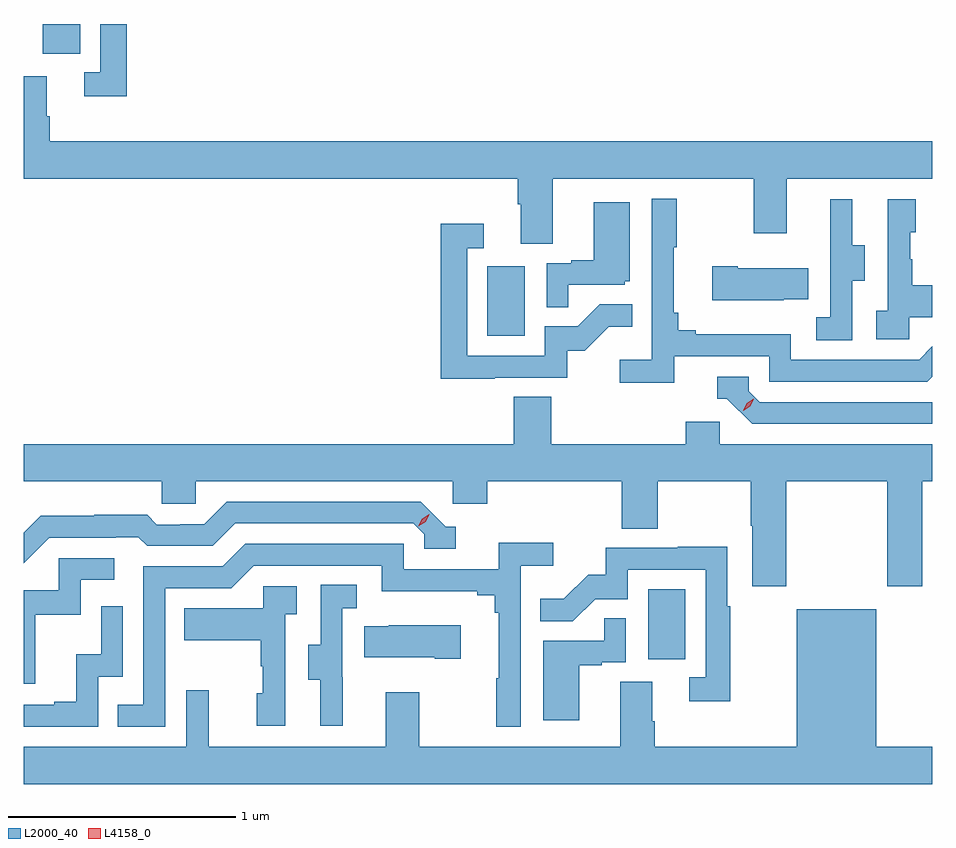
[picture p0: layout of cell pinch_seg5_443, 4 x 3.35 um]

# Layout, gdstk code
import gdstk
lib = gdstk.Library(unit=1e-6, precision=1e-09)
def R(c, l, rs):  # rectangles x0, y0, x1, y1
    for r in rs: c.add(gdstk.rectangle(r[:2], r[2:], *l))
def P(c, l, *ps):  # polygons
    for p in ps: c.add(gdstk.Polygon(p, *l))
L2000_40 = (2000, 40)
L4158_0 = (4158, 0)

pinch_seg5_443 = lib.new_cell('pinch_seg5_443')
R(pinch_seg5_443, L2000_40, [(894.632,867.966,894.796,868.273), (893.924,869.388,894.088,869.695), (891.968,870.63,892.132,870.761)])
P(pinch_seg5_443, L2000_40, [(892.337,870.761),(892.221,870.761),(892.221,870.549),(892.149,870.549),(892.149,870.444),(892.337,870.444)],
  [(894.211,870.08),(895.096,870.08),(895.096,869.841),(895.243,869.841),(895.243,870.08),(895.883,870.08),(895.883,870.244),(891.998,870.244),(891.998,870.356),(891.985,870.356),(891.985,870.53),(891.883,870.53),(891.883,870.08),(894.059,870.08),(894.059,869.968),(894.071,869.968),(894.071,869.794),(894.211,869.794)],
  [(894.746,869.298),(895.164,869.298),(895.164,869.187),(895.861,869.187),(895.883,869.209),(895.883,869.342),(895.824,869.283),(895.26,869.283),(895.26,869.395),(894.841,869.395),(894.841,869.414),(894.764,869.414),(894.764,869.491),(894.745,869.491),(894.745,869.779),(894.757,869.779),(894.757,869.992),(894.648,869.992),(894.648,869.284),(894.507,869.284),(894.507,869.182),(894.746,869.182)],
  [(895.53,869.632),(895.585,869.632),(895.585,869.787),(895.531,869.787),(895.531,869.989),(895.433,869.989),(895.433,869.775),(895.434,869.775),(895.434,869.471),(895.371,869.471),(895.371,869.368),(895.53,869.368)],
  [(895.782,869.471),(895.883,869.471),(895.883,869.611),(895.795,869.611),(895.795,869.726),(895.785,869.726),(895.785,869.844),(895.81,869.844),(895.81,869.989),(895.686,869.989),(895.686,869.498),(895.635,869.498),(895.635,869.373),(895.782,869.373)],
  [(894.281,869.613),(894.528,869.613),(894.528,869.628),(894.55,869.628),(894.55,869.977),(894.392,869.977),(894.392,869.722),(894.293,869.722),(894.293,869.709),(894.186,869.709),(894.186,869.515),(894.281,869.515)],
  [(893.957,869.205),(894.276,869.205),(894.276,869.322),(894.352,869.322),(894.459,869.429),(894.563,869.429),(894.563,869.528),(894.419,869.528),(894.321,869.43),(894.177,869.43),(894.177,869.301),(893.835,869.301),(893.835,869.775),(893.908,869.775),(893.908,869.881),(893.719,869.881),(893.719,869.2),(893.957,869.2)],
  [(895.229,869.549),(895.337,869.549),(895.337,869.686),(895.027,869.686),(895.027,869.694),(894.915,869.694),(894.915,869.546),(895.229,869.546)],
  [(895.883,869.097),(895.122,869.097),(895.074,869.145),(895.074,869.208),(894.935,869.208),(894.935,869.112),(894.978,869.112),(895.089,869.001),(895.883,869.001)],
  [(895.239,868.748),(895.684,868.748),(895.684,868.287),(895.839,868.287),(895.839,868.748),(895.883,868.748),(895.883,868.912),(894.948,868.912),(894.948,869.01),(894.797,869.01),(894.797,868.912),(894.206,868.912),(894.206,869.12),(894.041,869.12),(894.041,868.912),(891.883,868.912),(891.883,868.748),(892.491,868.748),(892.491,868.65),(892.641,868.65),(892.641,868.748),(893.772,868.748),(893.772,868.65),(893.924,868.65),(893.924,868.748),(894.515,868.748),(894.515,868.54),(894.675,868.54),(894.675,868.748),(895.084,868.748),(895.084,868.552),(895.091,868.552),(895.091,868.287),(895.239,868.287)],
  [(891.996,868.5),(892.289,868.5),(892.289,868.503),(892.388,868.503),(892.427,868.464),(892.716,868.464),(892.815,868.563),(893.598,868.563),(893.646,868.515),(893.646,868.452),(893.785,868.452),(893.785,868.548),(893.742,868.548),(893.631,868.659),(892.778,868.659),(892.679,868.56),(892.572,868.56),(892.572,868.557),(892.469,868.557),(892.427,868.6),(892.194,868.6),(892.194,868.597),(891.958,868.597),(891.883,868.522),(891.883,868.387)],
  [(892.506,868.278),(892.797,868.278),(892.896,868.377),(893.46,868.377),(893.46,868.265),(893.879,868.265),(893.879,868.246),(893.956,868.246),(893.956,868.169),(893.975,868.169),(893.975,867.881),(893.964,867.881),(893.964,867.669),(894.072,867.669),(894.072,868.376),(894.214,868.376),(894.214,868.478),(893.975,868.478),(893.975,868.362),(893.556,868.362),(893.556,868.473),(892.859,868.473),(892.76,868.374),(892.41,868.374),(892.41,867.765),(892.297,867.765),(892.297,867.669),(892.506,867.669)],
  [(894.994,868.199),(894.981,868.199),(894.981,868.46),(894.763,868.46),(894.763,868.455),(894.445,868.455),(894.445,868.338),(894.368,868.338),(894.261,868.231),(894.157,868.231),(894.157,868.132),(894.301,868.132),(894.399,868.23),(894.543,868.23),(894.543,868.359),(894.885,868.359),(894.885,867.885),(894.813,867.885),(894.813,867.78),(894.994,867.78)],
  [(891.935,868.161),(892.134,868.161),(892.134,868.314),(892.282,868.314),(892.282,868.41),(892.038,868.41),(892.038,868.269),(891.883,868.269),(891.883,867.858),(891.935,867.858)],
  [(893.288,867.885),(893.286,867.885),(893.286,868.189),(893.35,868.189),(893.35,868.292),(893.19,868.292),(893.19,868.029),(893.135,868.029),(893.135,867.874),(893.189,867.874),(893.189,867.672),(893.288,867.672)],
  [(893.034,868.163),(893.086,868.163),(893.086,868.287),(892.938,868.287),(892.938,868.189),(892.591,868.189),(892.591,868.049),(892.926,868.049),(892.926,867.935),(892.936,867.935),(892.936,867.816),(892.91,867.816),(892.91,867.672),(893.034,867.672)],
  [(892.212,867.888),(892.32,867.888),(892.32,868.198),(892.224,868.198),(892.224,867.986),(892.115,867.986),(892.115,867.778),(892.019,867.778),(892.019,867.765),(891.883,867.765),(891.883,867.669),(892.212,867.669)],
  [(895.883,867.58),(895.636,867.58),(895.636,868.186),(895.286,868.186),(895.286,867.58),(894.662,867.58),(894.662,867.692),(894.649,867.692),(894.649,867.866),(894.509,867.866),(894.509,867.58),(893.625,867.58),(893.625,867.82),(893.477,867.82),(893.477,867.58),(892.697,867.58),(892.697,867.829),(892.599,867.829),(892.599,867.58),(891.883,867.58),(891.883,867.416),(895.883,867.416)],
  [(894.328,867.939),(894.428,867.939),(894.428,867.951),(894.534,867.951),(894.534,868.145),(894.439,868.145),(894.439,868.047),(894.17,868.047),(894.17,867.696),(894.328,867.696)],
  [(893.806,868.114),(893.491,868.114),(893.491,868.111),(893.383,868.111),(893.383,867.974),(893.693,867.974),(893.693,867.967),(893.806,867.967)])
P(pinch_seg5_443, L4158_0, [(895.051,869.059),(895.051,869.059),(895.066,869.092),(895.097,869.112),(895.097,869.112),(895.097,869.112),(895.082,869.079),(895.051,869.059)],
  [(893.62,868.55),(893.62,868.55),(893.637,868.583),(893.668,868.603),(893.668,868.603),(893.668,868.602),(893.652,868.57),(893.621,868.55)])

lib.write_gds('pinch_seg5_443.gds')
